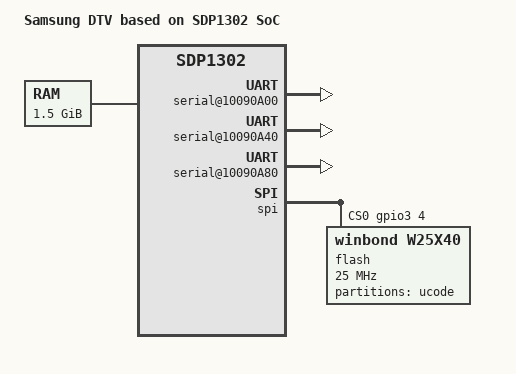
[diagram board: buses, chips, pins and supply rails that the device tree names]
/*
 * Copyright (C) 2013 Samsung Electronics Co.Ltd
 *
 * This program is free software; you can redistribute it and/or modify
 * it under the terms of the GNU General Public License version 2 as
 * published by the Free Software Foundation.
 */

/dts-v1/;
/include/ "sdp1302.dtsi"

/ {
	model = "Samsung DTV based on SDP1302 SoC";
	compatible = "samsung,dtv", "samsung,sdp1302";

	memory {
		device_type = "memory";
		reg =  <0x40000000 0x40000000>, <0xc0000000 0x20000000>;
	};

	chosen {
		bootargs = "console=ttyS0,115200N8 root=/dev/mmcblk0p2 rootfstype=squashfs rootwait earlyprintk";
	};

	fixed-rate-clocks {
		fin {
			compatible = "samsung,sdp-clock-fin";
			clock-frequency = <24000000>;
		};
		fin-lvds {
			compatible = "samsung,sdp-clock-fin-lvds";
			clock-frequency = <27000000>;
		};
	};

	chipid@0x10080000 {
		subid = "mpw";
	};

	serial@10090A00 {
		status = "okay";
	};

	serial@10090A40 {
		status = "okay";
	};

	serial@10090A80 {
		status = "okay";
	};

	ethernet@100B0000 {
		phy_sel_reg = <0x10088000 0x1 0x1>;		/* select RGMII for eval board*/
	};

	spi: ssp@0x10090200 {
		status = "okay";
		cs-gpios = <&gpio3 4 0>;/* cs0 is o_CI_RESET Pin(gpio3.4) */

		flash: w25x40@0 {
			#address-cells = <1>;
			#size-cells = <1>;
			compatible = "winbond,w25x40";
			spi-max-frequency = <25000000>;
			reg = <0>;

			partition@0 {
				label = "ucode";
				reg = <0x0 0x400000>;
			};

		};
	};
/*
	i2c@10090100 {
		status = "okay";
		samsung,i2c-sda-delay = <1>;
		samsung,i2c-max-bus-freq = <400000>;
		samsung,i2c-irq-status-reg = <0x100901F4>;
		samsung,i2c-cpu-affinity = <1>;
	};

	i2c@10090120 {
		status = "okay";
		samsung,i2c-sda-delay = <1>;
		samsung,i2c-max-bus-freq = <400000>;
		samsung,i2c-irq-status-reg = <0x100901F4>;
		samsung,i2c-cpu-affinity = <1>;
	};

	i2c@10090140 { 
		status = "okay";
		samsung,i2c-sda-delay = <1>;
		samsung,i2c-max-bus-freq = <400000>;
		samsung,i2c-irq-status-reg = <0x100901F4>;
		samsung,i2c-cpu-affinity = <1>;

		tps56920@37 {
			compatible = "ti,tps56920";
			reg = <0x37>;

			regulator-name = "AP_CPU_PW";
			regulator-min-microvolt = <600000>;
			regulator-max-microvolt = <1870000>;
			regulator-always-on;
			regulator-boot-on;

			default_volt = <1230000>;
		};
	};

	i2c@10090160 {
		status = "okay";
		samsung,i2c-sda-delay = <1>;
		samsung,i2c-max-bus-freq = <400000>;
		samsung,i2c-irq-status-reg = <0x100901F4>;
		samsung,i2c-cpu-affinity = <1>;

		tps56920@37 {
			compatible = "ti,tps56920";
			reg = <0x37>;

			regulator-name = "AP_GPU_PW";
			regulator-min-microvolt = <600000>;
			regulator-max-microvolt = <1870000>;
			regulator-always-on;
			regulator-boot-on;
			
			default_volt = <1100000>;
		};
	};

	i2c@10090180 {
		status = "okay";
		samsung,i2c-sda-delay = <1>;
		samsung,i2c-max-bus-freq = <400000>;
		samsung,i2c-irq-status-reg = <0x100901F4>;
		samsung,i2c-cpu-affinity = <1>;

			tps56920@37 {
			compatible = "ti,tps56720";
			reg = <0x37>;

			regulator-name = "MP0_PW";
			regulator-min-microvolt = <600000>;
			regulator-max-microvolt = <1870000>;
			regulator-always-on;
			regulator-boot-on;

			default_volt = <1100000>;
		};
	};

	i2c@100901A0 {
		status = "okay";
		samsung,i2c-sda-delay = <1>;
		samsung,i2c-max-bus-freq = <400000>;
		samsung,i2c-irq-status-reg = <0x100901F4>;
		samsung,i2c-cpu-affinity = <1>;
	};

	i2c@100901C0 {
		status = "okay";
		samsung,i2c-sda-delay = <1>;
		samsung,i2c-max-bus-freq = <400000>;
		samsung,i2c-irq-status-reg = <0x100901F4>;
		samsung,i2c-cpu-affinity = <1>;

		tps56920@37 {
			compatible = "ti,tps56720";
			reg = <0x37>;

			regulator-name = "MP1_PW";
			regulator-min-microvolt = <600000>;
			regulator-max-microvolt = <1870000>;
			regulator-always-on;
			regulator-boot-on;

			default_volt = <1100000>;
		};
	};

	i2c@100901E0 {
		status = "okay";
		samsung,i2c-sda-delay = <1>;
		samsung,i2c-max-bus-freq = <400000>;
		samsung,i2c-irq-status-reg = <0x100903F4>;
		samsung,i2c-pad-enable = <0x10900C40 0x8>;
		samsung,i2c-cpu-affinity = <1>;

	};
	i2c@10090320 {
		status = "okay";
		samsung,i2c-sda-delay = <1>;
		samsung,i2c-max-bus-freq = <400000>;
		samsung,i2c-irq-status-reg = <0x100903F4>;
		samsung,i2c-cpu-affinity = <1>;

	};
	i2c@10090340 {
		status = "okay";
		samsung,i2c-sda-delay = <1>;
		samsung,i2c-max-bus-freq = <400000>;
		samsung,i2c-irq-status-reg = <0x100903F4>;
		samsung,i2c-cpu-affinity = <1>;

	};

	i2c-gpio-0 {
		compatible = "i2c-gpio";
		gpios = <&gpio1 2 0>, <&gpio1 1 0>;
		#address-cells = <1>;
		#size-cells = <0>;

		panel@76 {
			compatible = "samsung,foxft1-tcon";
			reg = <0x76>;
		};
	};
	
	dummy_panel {
		compatible = "dummy_panel";

		display-timings {
			native-mode = <&timing0>;

			timing0: timing-0 {
				 clock-frequency = <0>;
				 hactive = <1920>;
				 vactive = <1080>;
				 hfront-porch = <0>;
				 hback-porch = <0>;
				 hsync-len = <0>;
				 vfront-porch = <0>;
				 vback-porch = <0>;
				 vsync-len = <0>;
			};
		};
	};
	
	ehci@100D0000 {
		status = "okay";
		samsung,sw-reset = <0x10009000 0x958 0x100000>;
		samsung,ehci-link-set = <0x100C0000 0x00 0x1e000>;
		samsung,sw-reset-release = <0x10009000 0x958 0x100000>;
		samsung,vbus-enable = <0x10009000 0xD18 0x3000000>;
		samsung,hsic-reset = <0x10009000 0xD18 0x300000>;
	};

	ehci@100E0000 {
		status = "okay";
		samsung,sw-reset = <0x10009000 0x958 0x200000>;
		samsung,ehci-link-set = <0x100C0000 0x08 0x1e000>;
		samsung,sw-reset-release = <0x10009000 0x958 0x200000>;
		samsung,vbus-enable = <0x10009000 0xD1C 0x40>;
		samsung,hsic-reset = <0x10009000 0xD1C 0x20>;
	};
	
	ohci@100E8000 {
		status = "disable";
	};

	ohci@100F8000 {
		status = "disable";
	};

	xhci@10200000 {
		status = "okay";
	};
	
	tmu@10B00C6C {
		status = "okay";
		log_file_path = "/rwarea/ThermalThrottle.txt";
	};
	
*/
};
